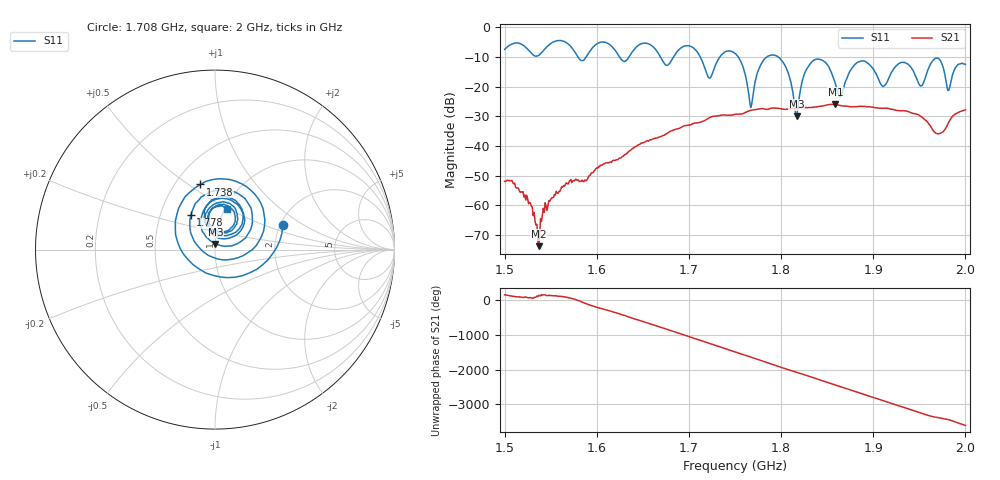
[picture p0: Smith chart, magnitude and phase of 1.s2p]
! NanoVNA-App by SYSJOINT et al v1.1.209 (+OD18)
! Date: 2026-01-21 14:31:08
! Start: 1,5GHz Stop: 2GHz Points: 501
! S-Parameter data: F S11 S21 S12 S22
# Hz S RI R 50
!  Frequency  S11_Real  S11_Imag  S21_Real  S21_Imag  S12_Real  S12_Imag  S22_Real  S22_Imag
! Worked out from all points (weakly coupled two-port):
!   501 points, 1.5 GHz to 2 GHz, reference 50 ohm
!   highest |S21| = -25.98 dB at 1.859 GHz (marker M1); lowest = -73.7 dB at 1.537 GHz (marker M2)
!   lowest |S11| = -30.0 dB at 1.817 GHz (marker M3), VSWR 1.07, Z = 50.2 + j3.15 ohm
!   |S11| at or under -10 dB: 1.712 GHz to 1.734 GHz (21.37 MHz wide, 1.24 % of centre); 1.753 GHz to 1.785 GHz (31.36 MHz wide, 1.77 % of centre); 1.797 GHz to end of sweep (the widest 3 of 6)
!   S12 and S22 are empty: the file has one direction only
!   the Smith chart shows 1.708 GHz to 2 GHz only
!   S11 on the Smith chart (normalised r, x): 1.708 GHz: 2.07, +0.67; 1.738 GHz: 0.66, +0.56; 1.778 GHz: 0.71, +0.29; 2 GHz: 1.02, +0.49
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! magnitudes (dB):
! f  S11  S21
! 1.5 GHz  -7.5  -51.9
! 1.537 GHz  -9.5  -73.7
! 1.55 GHz  -5.6  -57.9
! 1.584 GHz  -11.2  -51.5
! 1.667 GHz  -8.9  -37.1
! 1.708 GHz  -7.9  -32.2
! 1.722 GHz  -17.1  -30.5
! 1.738 GHz  -8.6  -29.6
! 1.75 GHz  -8.8  -29.3
! 1.767 GHz  -27.0  -28.0
! 1.778 GHz  -12.6  -27.5
! 1.8 GHz  -11.0  -27.4
! 1.817 GHz  -30.0  -27.2
! 1.834 GHz  -11.5  -27.0
! 1.859 GHz  -19.2  -26.0
! 1.888 GHz  -11.4  -26.6
! 1.917 GHz  -17.1  -27.4
! 1.934 GHz  -11.9  -28.2
! 1.952 GHz  -19.8  -30.1
! 1.97 GHz  -10.5  -35.9
! 1.982 GHz  -21.2  -31.9
! 2 GHz  -12.5  -27.9
